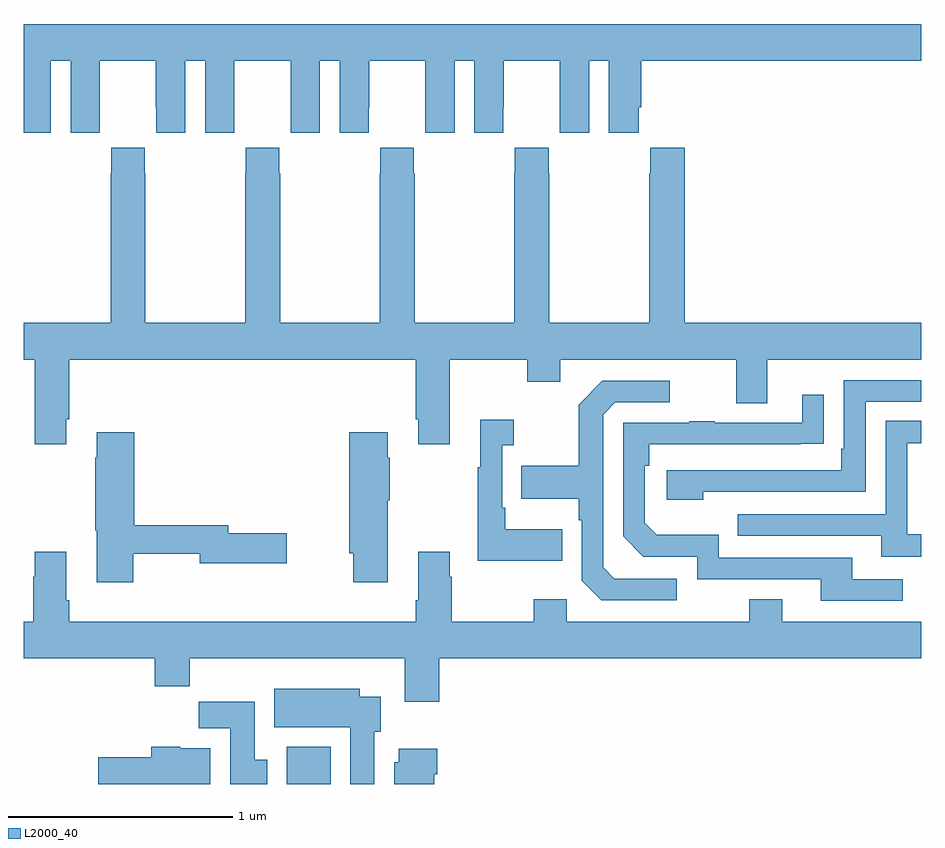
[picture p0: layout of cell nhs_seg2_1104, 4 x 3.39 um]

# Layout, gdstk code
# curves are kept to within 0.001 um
import gdstk
lib = gdstk.Library(unit=1e-6, precision=1e-09)
def R(c, l, rs):  # rectangles x0, y0, x1, y1
    for r in rs: c.add(gdstk.rectangle(r[:2], r[2:], *l))
def P(c, l, *ps):  # polygons
    for p in ps: c.add(gdstk.Polygon(p, *l))
L2000_40 = (2000, 40)

nhs_seg2_1104 = lib.new_cell('nhs_seg2_1104')
R(nhs_seg2_1104, L2000_40, [(170.171,589.8,170.368,589.966)])
P(nhs_seg2_1104, L2000_40, [(169.12,593.024),(169.208,593.024),(169.208,592.704),(169.338,592.704),(169.338,592.816),(169.339,592.816),(169.339,593.024),(169.589,593.024),(169.589,592.816),(169.59,592.816),(169.59,592.704),(169.72,592.704),(169.72,593.024),(169.808,593.024),(169.808,592.704),(169.938,592.704),(169.938,592.816),(169.939,592.816),(169.939,593.024),(170.189,593.024),(170.189,592.816),(170.19,592.816),(170.19,592.704),(170.32,592.704),(170.32,593.024),(170.408,593.024),(170.408,592.704),(170.538,592.704),(170.538,592.816),(170.539,592.816),(170.539,593.024),(170.789,593.024),(170.789,592.816),(170.79,592.816),(170.79,592.704),(170.92,592.704),(170.92,593.024),(171.008,593.024),(171.008,592.704),(171.138,592.704),(171.138,592.816),(171.139,592.816),(171.139,593.024),(171.389,593.024),(171.389,592.816),(171.39,592.816),(171.39,592.704),(171.52,592.704),(171.52,593.024),(171.608,593.024),(171.608,592.704),(171.742,592.704),(171.742,592.816),(171.752,592.816),(171.752,593.024),(173,593.024),(173,593.188),(169,593.188),(169,592.704),(169.12,592.704)],
  [(169.189,591.427),(169.202,591.427),(169.202,591.692),(170.747,591.692),(170.747,591.427),(170.759,591.427),(170.759,591.315),(170.899,591.315),(170.899,591.692),(171.244,591.692),(171.244,591.593),(171.391,591.593),(171.391,591.692),(172.175,591.692),(172.175,591.498),(172.315,591.498),(172.315,591.692),(173,591.692),(173,591.856),(171.947,591.856),(171.947,592.636),(171.793,592.636),(171.793,592.523),(171.787,592.523),(171.787,591.856),(171.342,591.856),(171.342,592.523),(171.339,592.523),(171.339,592.636),(171.189,592.636),(171.189,592.523),(171.187,592.523),(171.187,591.856),(170.742,591.856),(170.742,592.523),(170.739,592.523),(170.739,592.636),(170.589,592.636),(170.589,592.523),(170.587,592.523),(170.587,591.856),(170.142,591.856),(170.142,592.523),(170.139,592.523),(170.139,592.636),(169.989,592.636),(169.989,592.523),(169.987,592.523),(169.987,591.856),(169.542,591.856),(169.542,592.523),(169.539,592.523),(169.539,592.636),(169.389,592.636),(169.389,592.523),(169.387,592.523),(169.387,591.856),(169,591.856),(169,591.692),(169.049,591.692),(169.049,591.315),(169.189,591.315)],
  [(172.028,591.102),(172.752,591.102),(172.752,591.504),(173,591.504),(173,591.6),(172.656,591.6),(172.656,591.295),(172.643,591.295),(172.643,591.198),(171.867,591.198),(171.867,591.068),(172.028,591.068)],
  [(171.91,590.715),(171.633,590.715),(171.582,590.766),(171.582,591.447),(171.636,591.501),(171.88,591.501),(171.88,591.597),(171.579,591.597),(171.474,591.491),(171.474,591.219),(171.217,591.219),(171.217,591.071),(171.474,591.071),(171.474,590.975),(171.486,590.975),(171.486,590.706),(171.573,590.619),(171.91,590.619)],
  [(172.918,590.712),(172.693,590.712),(172.693,590.808),(172.098,590.808),(172.098,590.911),(171.821,590.911),(171.768,590.964),(171.768,591.218),(171.788,591.218),(171.788,591.315),(172.565,591.316),(172.565,591.535),(172.469,591.535),(172.469,591.411),(172.079,591.411),(172.079,591.416),(171.967,591.416),(171.967,591.411),(171.672,591.411),(171.672,590.904),(171.762,590.814),(172.002,590.814),(172.002,590.712),(172.553,590.712),(172.553,590.616),(172.918,590.616)],
  [(171.401,590.935),(171.145,590.935),(171.145,591.031),(171.132,591.031),(171.132,591.311),(171.184,591.311),(171.184,591.424),(171.035,591.424),(171.035,591.211),(171.024,591.211),(171.024,590.795),(171.401,590.795)],
  [(173,590.913),(172.938,590.913),(172.938,591.318),(173,591.318),(173,591.419),(172.842,591.419),(172.842,591.003),(172.183,591.003),(172.183,590.907),(172.823,590.907),(172.823,590.813),(173,590.813)],
  [(170.623,591.065),(170.631,591.065),(170.631,591.254),(170.623,591.254),(170.623,591.367),(170.45,591.367),(170.45,590.829),(170.468,590.829),(170.468,590.7),(170.623,590.7)],
  [(169.488,590.826),(169.784,590.826),(169.784,590.783),(170.173,590.783),(170.173,590.918),(169.912,590.918),(169.912,590.954),(169.493,590.954),(169.493,591.367),(169.325,591.367),(169.325,591.254),(169.318,591.254),(169.318,590.931),(169.325,590.931),(169.325,590.7),(169.488,590.7)],
  [(170.852,590.36),(173,590.36),(173,590.524),(172.381,590.524),(172.381,590.623),(172.234,590.623),(172.234,590.524),(171.42,590.524),(171.42,590.623),(171.274,590.623),(171.274,590.524),(170.907,590.524),(170.907,590.723),(170.899,590.723),(170.899,590.836),(170.759,590.836),(170.759,590.62),(170.747,590.62),(170.747,590.524),(169.202,590.524),(169.202,590.62),(169.189,590.62),(169.189,590.836),(169.049,590.836),(169.049,590.723),(169.042,590.723),(169.042,590.524),(169,590.524),(169,590.36),(169.583,590.36),(169.583,590.236),(169.739,590.236),(169.739,590.36),(170.699,590.36),(170.699,590.166),(170.852,590.166)],
  [(170.563,590.034),(170.59,590.034),(170.59,590.188),(170.497,590.188),(170.497,590.224),(170.117,590.224),(170.117,590.054),(170.456,590.054),(170.456,589.8),(170.563,589.8)],
  [(170.086,589.908),(170.029,589.908),(170.029,590.166),(169.78,590.166),(169.78,590.048),(169.919,590.048),(169.919,589.8),(170.086,589.8)],
  [(169.831,589.96),(169.698,589.96),(169.698,589.966),(169.568,589.966),(169.568,589.92),(169.332,589.92),(169.332,589.8),(169.831,589.8)],
  [(170.83,589.844),(170.843,589.844),(170.843,589.957),(170.672,589.957),(170.672,589.896),(170.651,589.896),(170.651,589.8),(170.83,589.8)])

lib.write_gds('nhs_seg2_1104.gds')
